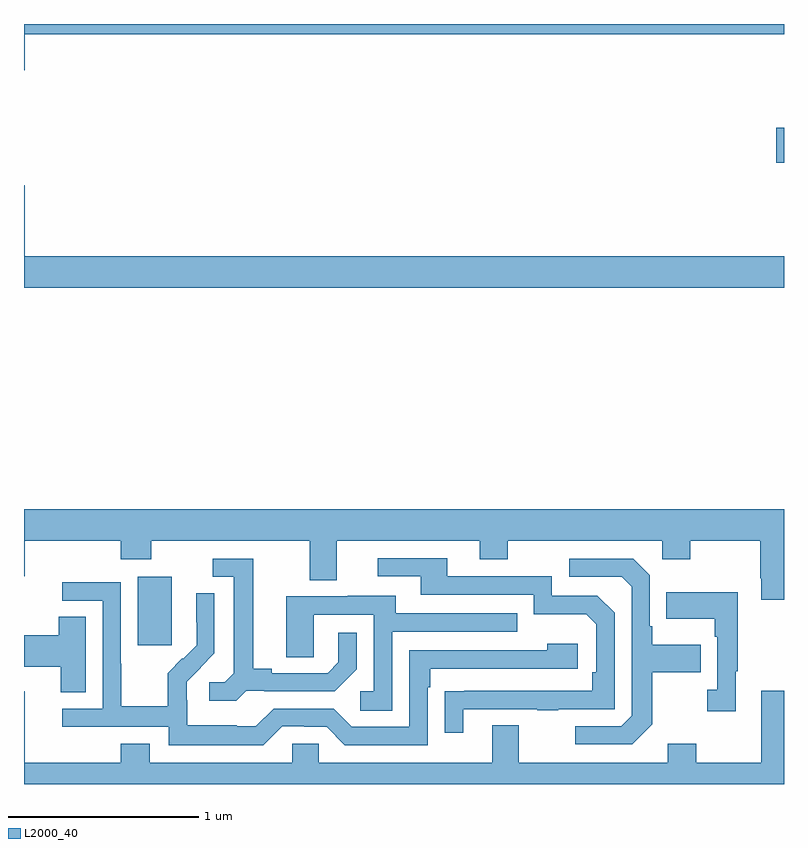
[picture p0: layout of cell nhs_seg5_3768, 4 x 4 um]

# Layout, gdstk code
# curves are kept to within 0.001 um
import gdstk
lib = gdstk.Library(unit=1e-6, precision=1e-09)
def R(c, l, rs):  # rectangles x0, y0, x1, y1
    for r in rs: c.add(gdstk.rectangle(r[:2], r[2:], *l))
def P(c, l, *ps):  # polygons
    for p in ps: c.add(gdstk.Polygon(p, *l))
L2000_40 = (2000, 40)

nhs_seg5_3768 = lib.new_cell('nhs_seg5_3768')
R(nhs_seg5_3768, L2000_40, [(333.599,869.529,333.778,869.89), (336.96,872.069,337,872.252)])
P(nhs_seg5_3768, L2000_40, [(333.004,872.744),(337,872.744),(337,872.799),(333,872.799),(333,872.556),(333.004,872.556)],
  [(337,871.576),(333.004,871.576),(333.004,871.951),(333,871.951),(333,871.412),(337,871.412)],
  [(337,870.244),(333,870.244),(333,869.892),(333.004,869.892),(333.004,870.08),(333.509,870.08),(333.509,869.981),(333.669,869.981),(333.669,870.08),(334.505,870.08),(334.505,869.872),(334.645,869.872),(334.645,870.08),(335.399,870.08),(335.399,869.981),(335.547,869.981),(335.547,870.08),(336.36,870.08),(336.36,869.981),(336.507,869.981),(336.507,870.08),(336.874,870.08),(336.874,869.881),(336.881,869.881),(336.881,869.769),(337,869.769)],
  [(335.311,869.193),(335.701,869.193),(335.701,869.188),(335.813,869.188),(335.813,869.193),(336.108,869.193),(336.108,869.7),(336.018,869.79),(335.778,869.79),(335.778,869.892),(335.227,869.892),(335.227,869.988),(334.863,869.988),(334.863,869.892),(335.087,869.892),(335.087,869.796),(335.682,869.796),(335.682,869.693),(335.959,869.693),(336.012,869.64),(336.012,869.386),(335.992,869.386),(335.992,869.289),(335.215,869.288),(335.215,869.07),(335.311,869.07)],
  [(336.307,869.113),(336.307,869.386),(336.563,869.386),(336.563,869.533),(336.307,869.533),(336.307,869.629),(336.294,869.629),(336.294,869.898),(336.207,869.985),(335.871,869.985),(335.871,869.889),(336.147,869.889),(336.198,869.838),(336.198,869.157),(336.144,869.103),(335.901,869.103),(335.901,869.007),(336.201,869.007)],
  [(334.17,869.289),(334.264,869.289),(334.264,869.286),(334.636,869.286),(334.752,869.402),(334.752,869.596),(334.655,869.596),(334.655,869.439),(334.598,869.382),(334.303,869.382),(334.303,869.405),(334.207,869.405),(334.207,869.985),(333.993,869.985),(333.993,869.889),(334.103,869.889),(334.103,869.381),(334.056,869.334),(333.975,869.334),(333.975,869.237),(334.118,869.237)],
  [(334.359,869.103),(334.475,869.103),(334.475,869.1),(334.593,869.1),(334.689,869.004),(335.124,869.004),(335.124,869.309),(335.137,869.309),(335.137,869.406),(335.914,869.406),(335.914,869.536),(335.753,869.536),(335.753,869.502),(335.028,869.502),(335.028,869.1),(334.725,869.1),(334.629,869.196),(334.314,869.196),(334.221,869.103),(334.121,869.103),(334.121,869.107),(333.858,869.107),(333.858,869.241),(333.856,869.241),(333.856,869.338),(334.002,869.486),(334.002,869.804),(333.906,869.804),(333.906,869.65),(333.908,869.65),(333.908,869.528),(333.837,869.457),(333.834,869.46),(333.757,869.383),(333.757,869.209),(333.513,869.209),(333.513,869.432),(333.51,869.432),(333.51,869.862),(333.201,869.862),(333.201,869.763),(333.414,869.763),(333.414,869.196),(333.201,869.196),(333.201,869.1),(333.762,869.1),(333.762,869.003),(334.259,869.003)],
  [(336.745,869.393),(336.757,869.393),(336.757,869.809),(336.379,869.809),(336.379,869.669),(336.636,869.669),(336.636,869.573),(336.648,869.573),(336.648,869.294),(336.597,869.294),(336.597,869.181),(336.745,869.181)],
  [(334.938,869.601),(335.597,869.601),(335.597,869.697),(334.957,869.697),(334.957,869.791),(334.703,869.791),(334.703,869.787),(334.379,869.787),(334.379,869.467),(334.524,869.467),(334.524,869.691),(334.842,869.691),(334.842,869.286),(334.77,869.286),(334.77,869.185),(334.938,869.185)],
  [(333.325,869.678),(333.182,869.678),(333.182,869.583),(333,869.583),(333,869.417),(333.194,869.417),(333.194,869.281),(333.325,869.281)],
  [(337,869.29),(336.881,869.29),(336.881,868.912),(336.537,868.912),(336.537,869.011),(336.389,869.011),(336.389,868.912),(335.605,868.912),(335.605,869.107),(335.465,869.107),(335.465,868.912),(334.551,868.912),(334.551,869.01),(334.413,869.01),(334.413,868.912),(333.661,868.912),(333.661,869.011),(333.509,869.011),(333.509,868.912),(333.004,868.912),(333.004,869.287),(333,869.287),(333,868.799),(337,868.799)])

lib.write_gds('nhs_seg5_3768.gds')
